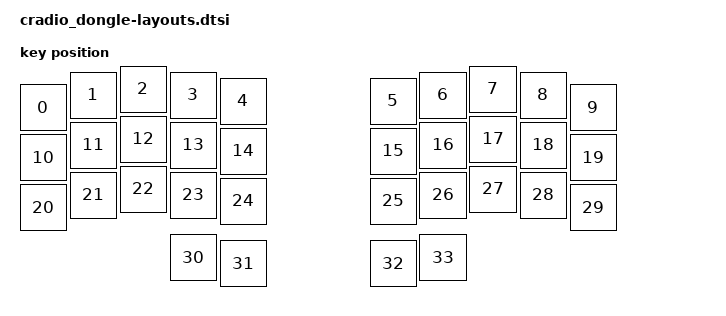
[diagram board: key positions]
// Copyright (c) 2022 The ZMK Contributors
// SPDX-License-Identifier: MIT

#include <physical_layouts.dtsi>

/ {
    cradio_physical_layout: cradio_physical_layout {
        compatible = "zmk,physical-layout";
        display-name = "Ferris Sweep";
        transform = <&default_transform>;
        kscan = <&kscan0>;

        keys  //                     w   h    x    y     rot    rx    ry
            = <&key_physical_attrs 100 100    0   37       0     0     0>
            , <&key_physical_attrs 100 100  100   12       0     0     0>
            , <&key_physical_attrs 100 100  200    0       0     0     0>
            , <&key_physical_attrs 100 100  300   12       0     0     0>
            , <&key_physical_attrs 100 100  400   24       0     0     0>
            , <&key_physical_attrs 100 100  700   24       0     0     0>
            , <&key_physical_attrs 100 100  800   12       0     0     0>
            , <&key_physical_attrs 100 100  900    0       0     0     0>
            , <&key_physical_attrs 100 100 1000   12       0     0     0>
            , <&key_physical_attrs 100 100 1100   37       0     0     0>
            , <&key_physical_attrs 100 100    0  137       0     0     0>
            , <&key_physical_attrs 100 100  100  112       0     0     0>
            , <&key_physical_attrs 100 100  200  100       0     0     0>
            , <&key_physical_attrs 100 100  300  112       0     0     0>
            , <&key_physical_attrs 100 100  400  124       0     0     0>
            , <&key_physical_attrs 100 100  700  124       0     0     0>
            , <&key_physical_attrs 100 100  800  112       0     0     0>
            , <&key_physical_attrs 100 100  900  100       0     0     0>
            , <&key_physical_attrs 100 100 1000  112       0     0     0>
            , <&key_physical_attrs 100 100 1100  137       0     0     0>
            , <&key_physical_attrs 100 100    0  237       0     0     0>
            , <&key_physical_attrs 100 100  100  212       0     0     0>
            , <&key_physical_attrs 100 100  200  200       0     0     0>
            , <&key_physical_attrs 100 100  300  212       0     0     0>
            , <&key_physical_attrs 100 100  400  224       0     0     0>
            , <&key_physical_attrs 100 100  700  224       0     0     0>
            , <&key_physical_attrs 100 100  800  212       0     0     0>
            , <&key_physical_attrs 100 100  900  200       0     0     0>
            , <&key_physical_attrs 100 100 1000  212       0     0     0>
            , <&key_physical_attrs 100 100 1100  237       0     0     0>
            , <&key_physical_attrs 100 100  300  337       0     0     0>
            , <&key_physical_attrs 100 100  400  349       0     0     0>
            , <&key_physical_attrs 100 100  700  349       0     0     0>
            , <&key_physical_attrs 100 100  800  337       0     0     0>
            ;
    };
};
